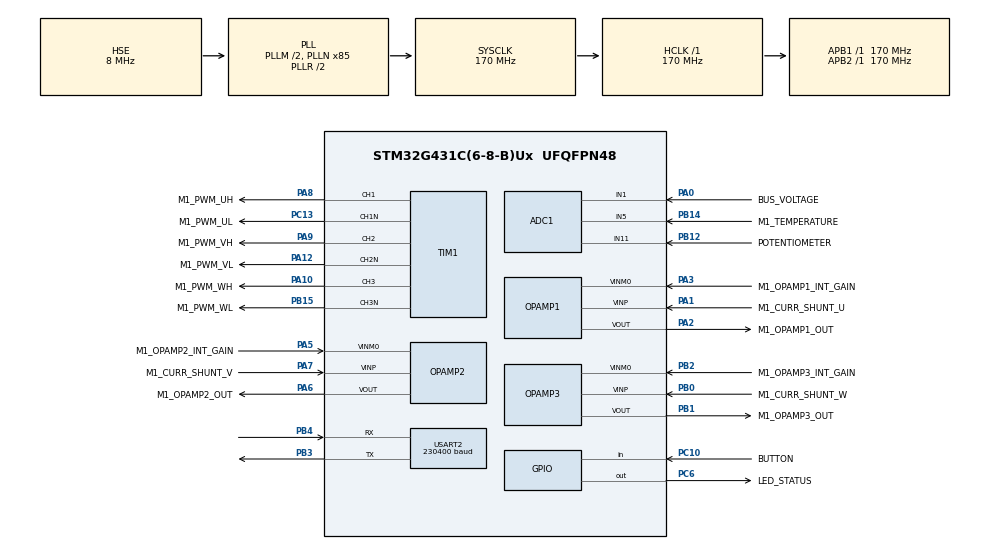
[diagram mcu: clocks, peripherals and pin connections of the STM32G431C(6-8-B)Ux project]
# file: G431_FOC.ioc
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ADC1.Channel-4\#ChannelRegularConversion=ADC_CHANNEL_1
ADC1.Channel-5\#ChannelRegularConversion=ADC_CHANNEL_5
ADC1.Channel-6\#ChannelRegularConversion=ADC_CHANNEL_11
ADC1.ClockPrescaler=ADC_CLOCK_SYNC_PCLK_DIV4
ADC1.DMAContinuousRequests=ENABLE
ADC1.EnableInjectedConversion=ENABLE
ADC1.EnableRegularConversion=ENABLE
ADC1.ExternalTrigConv=ADC_EXTERNALTRIG_T2_CC2
ADC1.ExternalTrigInjecConv=ADC_EXTERNALTRIGINJEC_T1_TRGO
ADC1.InjNumberOfConversion=2
ADC1.InjectedChannel-2\#ChannelInjectedConversion=ADC_CHANNEL_3
ADC1.InjectedChannel-3\#ChannelInjectedConversion=ADC_CHANNEL_12
ADC1.InjectedOffsetNumber-2\#ChannelInjectedConversion=ADC_OFFSET_NONE
ADC1.InjectedOffsetNumber-3\#ChannelInjectedConversion=ADC_OFFSET_NONE
ADC1.InjectedRank-2\#ChannelInjectedConversion=1
ADC1.InjectedRank-3\#ChannelInjectedConversion=2
ADC1.InjectedSamplingTime-2\#ChannelInjectedConversion=ADC_SAMPLETIME_6CYCLES_5
ADC1.InjectedSamplingTime-3\#ChannelInjectedConversion=ADC_SAMPLETIME_6CYCLES_5
ADC1.NbrOfConversion=3
ADC1.NbrOfConversionFlag=1
ADC1.OffsetNumber-4\#ChannelRegularConversion=ADC_OFFSET_NONE
ADC1.OffsetNumber-5\#ChannelRegularConversion=ADC_OFFSET_NONE
ADC1.OffsetNumber-6\#ChannelRegularConversion=ADC_OFFSET_NONE
ADC1.Rank-4\#ChannelRegularConversion=1
ADC1.Rank-5\#ChannelRegularConversion=2
ADC1.Rank-6\#ChannelRegularConversion=3
ADC1.SamplingTime-4\#ChannelRegularConversion=ADC_SAMPLETIME_6CYCLES_5
ADC1.SamplingTime-5\#ChannelRegularConversion=ADC_SAMPLETIME_6CYCLES_5
ADC1.SamplingTime-6\#ChannelRegularConversion=ADC_SAMPLETIME_6CYCLES_5
ADC1.master=1
ADC2.ContinuousConvMode=DISABLE
ADC2.DMAContinuousRequests=DISABLE
ADC2.EnableInjectedConversion=ENABLE
ADC2.EnableRegularConversion=DISABLE
ADC2.ExternalTrigInjecConv=ADC_EXTERNALTRIGINJEC_T1_TRGO
ADC2.InjNumberOfConversion=1
ADC2.InjectedChannel-2\#ChannelInjectedConversion=ADC_CHANNEL_3
ADC2.InjectedOffsetNumber-2\#ChannelInjectedConversion=ADC_OFFSET_NONE
ADC2.InjectedRank-2\#ChannelInjectedConversion=1
ADC2.InjectedSamplingTime-2\#ChannelInjectedConversion=ADC_SAMPLETIME_6CYCLES_5
ADC2.Rank1_Channel=ADC_CHANNEL_3
Dma.ADC1.2.Direction=DMA_PERIPH_TO_MEMORY
Dma.ADC1.2.EventEnable=DISABLE
Dma.ADC1.2.Instance=DMA1_Channel3
Dma.ADC1.2.MemDataAlignment=DMA_MDATAALIGN_WORD
Dma.ADC1.2.MemInc=DMA_MINC_ENABLE
Dma.ADC1.2.Mode=DMA_CIRCULAR
Dma.ADC1.2.PeriphDataAlignment=DMA_PDATAALIGN_WORD
Dma.ADC1.2.PeriphInc=DMA_PINC_DISABLE
Dma.ADC1.2.Polarity=HAL_DMAMUX_REQ_GEN_RISING
Dma.ADC1.2.Priority=DMA_PRIORITY_LOW
Dma.ADC1.2.RequestNumber=1
Dma.ADC1.2.SignalID=NONE
Dma.ADC1.2.SyncEnable=DISABLE
Dma.ADC1.2.SyncPolarity=HAL_DMAMUX_SYNC_NO_EVENT
Dma.ADC1.2.SyncRequestNumber=1
Dma.ADC1.2.SyncSignalID=NONE
Dma.Request0=USART2_RX
Dma.Request1=USART2_TX
Dma.Request2=ADC1
Dma.USART2_RX.0.Direction=DMA_PERIPH_TO_MEMORY
Dma.USART2_RX.0.EventEnable=DISABLE
Dma.USART2_RX.0.Instance=DMA1_Channel1
Dma.USART2_RX.0.MemDataAlignment=DMA_MDATAALIGN_BYTE
Dma.USART2_RX.0.MemInc=DMA_MINC_ENABLE
Dma.USART2_RX.0.Mode=DMA_NORMAL
Dma.USART2_RX.0.PeriphDataAlignment=DMA_PDATAALIGN_BYTE
Dma.USART2_RX.0.PeriphInc=DMA_PINC_DISABLE
Dma.USART2_RX.0.Polarity=HAL_DMAMUX_REQ_GEN_RISING
Dma.USART2_RX.0.Priority=DMA_PRIORITY_LOW
Dma.USART2_RX.0.RequestNumber=1
Dma.USART2_RX.0.SignalID=NONE
Dma.USART2_RX.0.SyncEnable=DISABLE
Dma.USART2_RX.0.SyncPolarity=HAL_DMAMUX_SYNC_NO_EVENT
Dma.USART2_RX.0.SyncRequestNumber=1
Dma.USART2_RX.0.SyncSignalID=NONE
Dma.USART2_TX.1.Direction=DMA_MEMORY_TO_PERIPH
Dma.USART2_TX.1.EventEnable=DISABLE
Dma.USART2_TX.1.Instance=DMA1_Channel2
Dma.USART2_TX.1.MemDataAlignment=DMA_MDATAALIGN_BYTE
Dma.USART2_TX.1.MemInc=DMA_MINC_ENABLE
Dma.USART2_TX.1.Mode=DMA_NORMAL
Dma.USART2_TX.1.PeriphDataAlignment=DMA_PDATAALIGN_BYTE
Dma.USART2_TX.1.PeriphInc=DMA_PINC_DISABLE
Dma.USART2_TX.1.Polarity=HAL_DMAMUX_REQ_GEN_RISING
Dma.USART2_TX.1.Priority=DMA_PRIORITY_LOW
Dma.USART2_TX.1.RequestNumber=1
Dma.USART2_TX.1.SignalID=NONE
Dma.USART2_TX.1.SyncEnable=DISABLE
Dma.USART2_TX.1.SyncPolarity=HAL_DMAMUX_SYNC_NO_EVENT
Dma.USART2_TX.1.SyncRequestNumber=1
Dma.USART2_TX.1.SyncSignalID=NONE
Mcu.Family=STM32G4
Mcu.Name=STM32G431C(6-8-B)Ux
Mcu.Package=UFQFPN48
Mcu.UserConstants=PWM_PERIOD_CYCLES,(ADV_TIM_CLK_FREQ / PWM_FREQ);ADV_TIM_CLK_FREQ,170000000;TIM_CLOCK_DIVIDER,1;PWM_FREQ,20000;TIM_RCR,2;DEAD_TIME_COUNTS,50
NVIC.ADC1_2_IRQn=true\:2\:0\:true\:false\:true\:true\:true\:true
NVIC.DMA1_Channel1_IRQn=true\:3\:0\:true\:false\:true\:false\:true\:true
NVIC.DMA1_Channel2_IRQn=true\:0\:0\:false\:false\:true\:false\:true\:true
NVIC.DMA1_Channel3_IRQn=true\:0\:0\:false\:false\:true\:false\:true\:true
NVIC.PriorityGroup=NVIC_PRIORITYGROUP_4
NVIC.TIM1_BRK_TIM15_IRQn=true\:4\:0\:true\:false\:true\:true\:true\:true
NVIC.TIM1_CC_IRQn=true\:0\:0\:false\:false\:true\:true\:true\:true
NVIC.TIM1_TRG_COM_TIM17_IRQn=true\:0\:0\:false\:false\:true\:true\:true\:true
NVIC.TIM1_UP_TIM16_IRQn=true\:0\:0\:false\:false\:true\:true\:true\:true
NVIC.TIM2_IRQn=true\:5\:0\:true\:false\:true\:true\:true\:true
NVIC.USART2_IRQn=true\:3\:0\:true\:false\:true\:true\:true\:true
OPAMP1.PgaGain=OPAMP_PGA_GAIN_16_OR_MINUS_15
OPAMP2.PgaGain=OPAMP_PGA_GAIN_16_OR_MINUS_15
OPAMP3.PgaGain=OPAMP_PGA_GAIN_16_OR_MINUS_15
PA0.GPIO_Label=BUS_VOLTAGE
PA0.Mode=IN1-Single-Ended
PA0.Signal=ADC1_IN1
PA1.GPIO_Label=M1_CURR_SHUNT_U
PA1.Mode=PGA Connected-INVERTINGINPUT_IO0_BIAS
PA1.Signal=OPAMP1_VINP
PA10.GPIO_Label=M1_PWM_WH
PA10.Signal=S_TIM1_CH3
PA12.GPIO_Label=M1_PWM_VL
PA12.Mode=PWM Generation2 CH2 CH2N
PA12.Signal=TIM1_CH2N
PA13.Mode=Serial_Wire
PA13.Signal=SYS_JTMS-SWDIO
PA14.Mode=Serial_Wire
PA14.Signal=SYS_JTCK-SWCLK
PA2.GPIO_Label=M1_OPAMP1_OUT
PA2.Signal=SharedAnalog_PA2
PA3.GPIO_Label=M1_OPAMP1_INT_GAIN
PA3.Mode=PGA Connected-INVERTINGINPUT_IO0_BIAS
PA3.Signal=OPAMP1_VINM0
PA5.GPIO_Label=M1_OPAMP2_INT_GAIN
PA5.Mode=PGA Connected-INVERTINGINPUT_IO0_BIAS
PA5.Signal=OPAMP2_VINM0
PA6.GPIO_Label=M1_OPAMP2_OUT
PA6.Signal=SharedAnalog_PA6
PA7.GPIO_Label=M1_CURR_SHUNT_V
PA7.Mode=PGA Connected-INVERTINGINPUT_IO0_BIAS
PA7.Signal=OPAMP2_VINP
PA8.GPIO_Label=M1_PWM_UH
PA8.Signal=S_TIM1_CH1
PA9.GPIO_Label=M1_PWM_VH
PA9.Signal=S_TIM1_CH2
PB0.GPIO_Label=M1_CURR_SHUNT_W
PB0.Mode=PGA Connected-INVERTINGINPUT_IO0_BIAS
PB0.Signal=OPAMP3_VINP
PB1.GPIO_Label=M1_OPAMP3_OUT
PB1.Signal=SharedAnalog_PB1
PB12.GPIO_Label=POTENTIOMETER
PB12.Mode=IN11-Single-Ended
PB12.Signal=ADC1_IN11
PB14.GPIO_Label=M1_TEMPERATURE
PB14.Mode=IN5-Single-Ended
PB14.Signal=ADC1_IN5
PB15.GPIO_Label=M1_PWM_WL
PB15.Mode=PWM Generation3 CH3 CH3N
PB15.Signal=TIM1_CH3N
PB2.GPIO_Label=M1_OPAMP3_INT_GAIN
PB2.Mode=PGA Connected-INVERTINGINPUT_IO0_BIAS
PB2.Signal=OPAMP3_VINM0
PB3.Mode=Asynchronous
PB3.Signal=USART2_TX
PB4.Mode=Asynchronous
PB4.Signal=USART2_RX
PC10.GPIO_Label=BUTTON
PC10.Signal=GPIO_Input
PC13.GPIO_Label=M1_PWM_UL
PC13.Mode=PWM Generation1 CH1 CH1N
PC13.Signal=TIM1_CH1N
PC6.GPIO_Label=LED_STATUS
PC6.Signal=GPIO_Output
PF0-OSC_IN.Mode=HSE-External-Oscillator
PF0-OSC_IN.Signal=RCC_OSC_IN
PF1-OSC_OUT.Mode=HSE-External-Oscillator
PF1-OSC_OUT.Signal=RCC_OSC_OUT
ProjectManager.HeapSize=0x200
ProjectManager.StackSize=0x400
ProjectManager.TargetToolchain=MDK-ARM V5.27
RCC.ADC12CLockSelection=RCC_ADC12CLKSOURCE_PLL
RCC.ADC12Freq_Value=42500000
RCC.AHBFreq_Value=170000000
RCC.APB1Freq_Value=170000000
RCC.APB1TimFreq_Value=170000000
RCC.APB2Freq_Value=170000000
RCC.APB2TimFreq_Value=170000000
RCC.CortexFreq_Value=170000000
RCC.EXTERNAL_CLOCK_VALUE=12288000
RCC.HCLKFreq_Value=170000000
RCC.HSE_VALUE=8000000
RCC.HSI48_VALUE=48000000
RCC.HSI_VALUE=16000000
RCC.LSE_VALUE=32768
RCC.PLLM=RCC_PLLM_DIV2
RCC.PLLN=85
RCC.PLLP=RCC_PLLP_DIV8
RCC.PLLSourceVirtual=RCC_PLLSOURCE_HSE
RCC.SYSCLKFreq_VALUE=170000000
RCC.SYSCLKSource=RCC_SYSCLKSOURCE_PLLCLK
RCC.USBFreq_Value=170000000
RCC.VCOOutputFreq_Value=340000000
SH.S_TIM1_CH1.0=TIM1_CH1,PWM Generation1 CH1 CH1N
SH.S_TIM1_CH2.0=TIM1_CH2,PWM Generation2 CH2 CH2N
SH.S_TIM1_CH3.0=TIM1_CH3,PWM Generation3 CH3 CH3N
SH.SharedAnalog_PA2.0=OPAMP1_VOUT,PGA Connected-INVERTINGINPUT_IO0_BIAS
SH.SharedAnalog_PA2.1=ADC1_IN3,IN3-Single-Ended
SH.SharedAnalog_PA6.0=OPAMP2_VOUT,PGA Connected-INVERTINGINPUT_IO0_BIAS
SH.SharedAnalog_PA6.1=ADC2_IN3,IN3-Single-Ended
SH.SharedAnalog_PB1.0=OPAMP3_VOUT,PGA Connected-INVERTINGINPUT_IO0_BIAS
SH.SharedAnalog_PB1.1=ADC1_IN12,IN12-Single-Ended
TIM1.Channel-PWM\ Generation1\ CH1\ CH1N=TIM_CHANNEL_1
TIM1.Channel-PWM\ Generation2\ CH2\ CH2N=TIM_CHANNEL_2
TIM1.Channel-PWM\ Generation3\ CH3\ CH3N=TIM_CHANNEL_3
TIM1.Channel-PWM\ Generation4\ No\ Output=TIM_CHANNEL_4
TIM1.CounterMode=TIM_COUNTERMODE_CENTERALIGNED3
TIM1.DeadTime=DEAD_TIME_COUNTS
TIM1.OCMode_PWM-PWM\ Generation1\ CH1\ CH1N=TIM_OCMODE_PWM2
TIM1.OCMode_PWM-PWM\ Generation2\ CH2\ CH2N=TIM_OCMODE_PWM2
TIM1.OCMode_PWM-PWM\ Generation3\ CH3\ CH3N=TIM_OCMODE_PWM2
TIM1.OCMode_PWM-PWM\ Generation4\ No\ Output=TIM_OCMODE_PWM2
TIM1.OffStateIDLEMode=TIM_OSSI_ENABLE
TIM1.OffStateRunMode=TIM_OSSR_ENABLE
TIM1.PeriodNoDither=((PWM_PERIOD_CYCLES) / 2)
TIM1.Prescaler=((TIM_CLOCK_DIVIDER) - 1)
TIM1.RepetitionCounter=TIM_RCR
TIM1.TIM_MasterOutputTrigger=TIM_TRGO_UPDATE
TIM17.PeriodNoDither=17000
TIM2.Channel-PWM\ Generation2\ No\ Output=TIM_CHANNEL_2
TIM2.PeriodNoDither=170000
TIM2.PulseNoDither_2=85000
TIM2.TIM_MasterOutputTrigger=TIM_TRGO_OC2REF
USART2.BaudRate=230400
USART2.VirtualMode-Asynchronous=VM_ASYNC
VP_SYS_VS_DBSignals.Mode=DisableDeadBatterySignals
VP_TIM17_VS_ClockSourceINT.Mode=Enable_Timer
VP_TIM1_VS_no_output4.Mode=PWM Generation4 No Output
VP_TIM2_VS_no_output2.Mode=PWM Generation2 No Output
board=custom

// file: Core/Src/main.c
/* USER CODE BEGIN Header */
/**
  ******************************************************************************
  * @file           : main.c
  * @brief          : Main program body
  ******************************************************************************
  * @attention
  *
  * <h2><center>&copy; Copyright (c) 2023 STMicroelectronics.
  * All rights reserved.</center></h2>
  *
  * This software component is licensed by ST under BSD 3-Clause license,
  * the "License"; You may not use this file except in compliance with the
  * License. You may obtain a copy of the License at:
  *                        opensource.org/licenses/BSD-3-Clause
  *
  ******************************************************************************
  */
/* USER CODE END Header */
#include "main.h"
#include "adc.h"
#include "dma.h"
#include "opamp.h"
#include "tim.h"
#include "usart.h"
#include "gpio.h"

void SystemClock_Config(void);

int main(void)
{
  /* USER CODE BEGIN 1 */
	uint8_t char_buf_1[30];
	//uint16_t ADC_Value = 0;
	float bus_voltage = 0;
	float temperature = 0;
	float potentiometer = 0;
	//float I = 0;
	float x = 0.2f;
	float y = 0.3f;
	float z = 0.0f;

	float tag_value = 0;
  /* USER CODE END 1 */

  /* MCU Configuration--------------------------------------------------------*/

  /* Reset of all peripherals, Initializes the Flash interface and the Systick. */
  HAL_Init();

  /* Configure the system clock */
  SystemClock_Config();

  /* Initialize all configured peripherals */
  MX_GPIO_Init();
  MX_DMA_Init();
  MX_USART2_UART_Init();
  MX_OPAMP3_Init();
  MX_ADC1_Init();
  MX_ADC2_Init();
  MX_OPAMP1_Init();
  MX_OPAMP2_Init();
  MX_TIM1_Init();
  MX_TIM2_Init();
  MX_TIM17_Init();
  /* USER CODE BEGIN 2 */
	Uart_receive_Init(&Uart2);//串口二接收初始化
	PWM_Start();							//PWM启动
	ADC_Start(&Motor_ADC);		//ADC启动

	LED_State(off);						//LED状态：关

  /* USER CODE END 2 */

  /* Infinite loop */
  /* USER CODE BEGIN WHILE */
  while (1)
  {
		//Get_bus_voltage(&Motor_ADC,&bus_voltage);
		//printf("%.6f\n",bus_voltage);

		//temperature = Get_temperature(&Motor_ADC);
		//printf("%.1f\n",temperature);

		//Get_potentiometer(&Motor_ADC,&potentiometer);
		//printf("%.6f\n",potentiometer);

		//printf("%d\n",Get_Button_Value());

		//Uart_printf(&Uart2,"%.3f,%.3f,%.3f\n",Motor_ADC.current_meas_phU,Motor_ADC.current_meas_phV,Motor_ADC.current_meas_phW);

		//printf("%.3f,%.3f,%.3f\n",Motor_ADC.calib_phU,Motor_ADC.calib_phV,Motor_ADC.calib_phW);

		//printf("%d,%.3f,%.3f\n",Motor_ADC.adc_val_phU,Motor_ADC.current_phU,Motor_ADC.calib_phU);
		//printf("%d,%.3f,%.3f\n",Motor_ADC.adc_val_phV,Motor_ADC.current_phV,Motor_ADC.calib_phV);
		//printf("%d,%.3f,%.3f\n",Motor_ADC.adc_val_phW,Motor_ADC.current_phW,Motor_ADC.calib_phW);
		if(Uart_scanf(&Uart2,char_buf_1,sizeof(char_buf_1)))
		{
			//Uart_printf(&Uart2,"%s\r\n",char_buf_1);//把接收到的字符再发送出去

			sscanf((char *)char_buf_1,"%f",&tag_value);//把字符串转化成数值
			//set_tag_val(tag_value);

			if('0' == char_buf_1[0])
			{
				LED_State(off);

				//svpwm_test();
				//pll_test();
				//PWM_HighLeaveTime_test();
				HFI_test_init();
				//Uart_printf(&Uart2,"%.6f\r\n",sinf(PI/3));
				//Uart_printf(&Uart2,"%.6f\r\n",arm_sin_f32(PI/3));
				//arm_mult_f32(&x, &y, &z, 1);
				//Uart_printf(&Uart2,"%.6f\r\n",z);

			}
			else if('1' == char_buf_1[0])
			{
				LED_State(on);
				//dsp_test_demo();
			}
			else if('2' == char_buf_1[0])
			{
				LED_State(breathe);
			}
			else if('3' == char_buf_1[0])
			{
				LED_State(twinkle);
			}
		}
    /* USER CODE END WHILE */

  }
}

void SystemClock_Config(void)
{
  RCC_OscInitTypeDef RCC_OscInitStruct = {0};
  RCC_ClkInitTypeDef RCC_ClkInitStruct = {0};

  /** Configure the main internal regulator output voltage
  */
  HAL_PWREx_ControlVoltageScaling(PWR_REGULATOR_VOLTAGE_SCALE1_BOOST);

  /** Initializes the RCC Oscillators according to the specified parameters
  * in the RCC_OscInitTypeDef structure.
  */
  RCC_OscInitStruct.OscillatorType = RCC_OSCILLATORTYPE_HSE;
  RCC_OscInitStruct.HSEState = RCC_HSE_ON;
  RCC_OscInitStruct.PLL.PLLState = RCC_PLL_ON;
  RCC_OscInitStruct.PLL.PLLSource = RCC_PLLSOURCE_HSE;
  RCC_OscInitStruct.PLL.PLLM = RCC_PLLM_DIV2;
  RCC_OscInitStruct.PLL.PLLN = 85;
  RCC_OscInitStruct.PLL.PLLP = RCC_PLLP_DIV8;
  RCC_OscInitStruct.PLL.PLLQ = RCC_PLLQ_DIV2;
  RCC_OscInitStruct.PLL.PLLR = RCC_PLLR_DIV2;
  if (HAL_RCC_OscConfig(&RCC_OscInitStruct) != HAL_OK)
  {
    Error_Handler();
  }

  /** Initializes the CPU, AHB and APB buses clocks
  */
  RCC_ClkInitStruct.ClockType = RCC_CLOCKTYPE_HCLK|RCC_CLOCKTYPE_SYSCLK
                              |RCC_CLOCKTYPE_PCLK1|RCC_CLOCKTYPE_PCLK2;
  RCC_ClkInitStruct.SYSCLKSource = RCC_SYSCLKSOURCE_PLLCLK;
  RCC_ClkInitStruct.AHBCLKDivider = RCC_SYSCLK_DIV1;
  RCC_ClkInitStruct.APB1CLKDivider = RCC_HCLK_DIV1;
  RCC_ClkInitStruct.APB2CLKDivider = RCC_HCLK_DIV1;

  if (HAL_RCC_ClockConfig(&RCC_ClkInitStruct, FLASH_LATENCY_4) != HAL_OK)
  {
    Error_Handler();
  }
}

void Error_Handler(void)
{
  __disable_irq();
  while (1)
  {
  }
}
